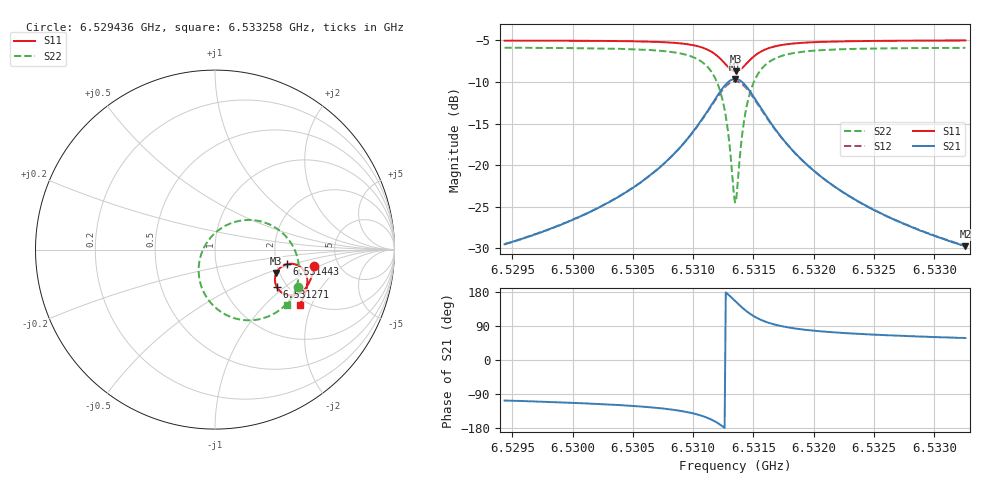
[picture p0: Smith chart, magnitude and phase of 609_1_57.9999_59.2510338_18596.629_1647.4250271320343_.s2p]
#  HZ  S  RI  R  50.00
! Rohde & Schwarz Vector Network Analyzer
! Rohde-Schwarz,ZNB20-2Port,1311601062101988,3.16
! Created: UTC 3/21/2024, 1:17:39 AM
! freq[Hz]  re:S11  im:S11  re:S21  im:S21  re:S12  im:S12  re:S22  im:S22
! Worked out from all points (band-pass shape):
!   401 points, 6.529436 GHz to 6.533258 GHz, reference 50 ohm
!   highest |S21| = -9.63 dB at 6.531347 GHz (marker M1); lowest = -29.8 dB at 6.533258 GHz (marker M2)
!   |S21| within 3 dB of the highest: 6.531158 GHz to 6.53154 GHz (382 kHz wide, 0.00585 % of centre)
!   lowest |S11| = -8.7 dB at 6.531357 GHz (marker M3), VSWR 2.15, Z = 96.2 - j28.9 ohm
!   |S11| at or under -10 dB: nowhere
!   |S22| runs from -24.5 to -5.9 dB; largest |S21 - S12| = 0.013
!   S11 on the Smith chart (normalised r, x): 6.529436 GHz: 3.30, -0.86; 6.531271 GHz: 1.77, -0.88; 6.531443 GHz: 2.27, -0.44; 6.533258 GHz: 1.83, -1.64
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6.5294362e9  0.5533 -0.0895  -0.0098 -0.0319  -0.0104 -0.0318  0.4643 -0.2061
6.5300764e9  0.5407 -0.1435  -0.0204 -0.0452  -0.0214 -0.0448  0.4291 -0.266
6.5304299e9  0.5278 -0.1769  -0.0339 -0.0587  -0.0353 -0.0579  0.3938 -0.3077
6.5307166e9  0.509 -0.2088  -0.0577 -0.0768  -0.06 -0.075  0.3398 -0.3506
6.5309363e9  0.4797 -0.2377  -0.101 -0.0957  -0.1038 -0.0922  0.2528 -0.3867
6.5311083e9  0.4287 -0.2553  -0.1803 -0.0987  -0.1822 -0.0909  0.1084 -0.3824
6.5312039e9  0.3797 -0.244  -0.2556 -0.0624  -0.2532 -0.0513  -0.0146 -0.3067
6.5312708e9  0.3445 -0.2085  -0.3053 0.00918  -0.2971 0.0193  -0.0839 -0.1781
6.5312994e9  0.3357 -0.1845  -0.3148 0.0533  -0.3042 0.0615  -0.091 -0.1035
6.5313281e9  0.3344 -0.1574  -0.3118 0.1019  -0.2994 0.107  -0.0767 -0.025
6.5313472e9  0.3383 -0.1392  -0.3015 0.1338  -0.289 0.1368  -0.0541 0.0248
6.5313568e9  0.3418 -0.1303  -0.2941 0.1489  -0.2815 0.1506  -0.0392 0.0481
6.5313663e9  0.346 -0.1219  -0.2852 0.1631  -0.273 0.1639  -0.0221 0.0696
6.5314141e9  0.3776 -0.0907  -0.2257 0.2158  -0.2164 0.2126  0.0841 0.145
6.5314427e9  0.4 -0.0815  -0.1855 0.2309  -0.1782 0.2267  0.153 0.163
6.5315096e9  0.4468 -0.0821  -0.1045 0.23  -0.1008 0.2261  0.2883 0.1466
6.5316052e9  0.4869 -0.1064  -0.0358 0.1939  -0.0342 0.1918  0.398 0.0705
6.5317485e9  0.5095 -0.1446  0.00414 0.142  0.00539 0.1413  0.4559 -0.0329
6.5319874e9  0.5146 -0.1892  0.0201 0.0922  0.0212 0.0918  0.4676 -0.1355
6.5322645e9  0.5084 -0.2241  0.0219 0.0634  0.0229 0.0632  0.4563 -0.2008
6.5326275e9  0.496 -0.2587  0.0203 0.0439  0.0213 0.0436  0.4358 -0.2532
6.5332581e9  0.4709 -0.3069  0.0172 0.0276  0.0179 0.0273  0.4008 -0.3109
